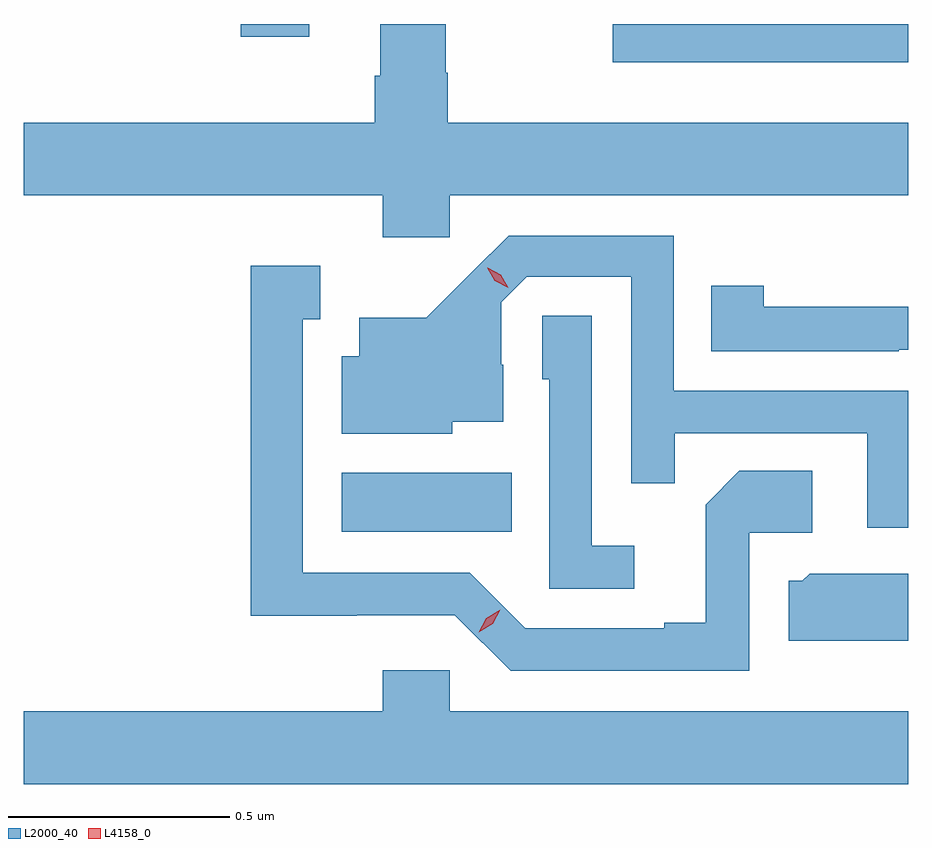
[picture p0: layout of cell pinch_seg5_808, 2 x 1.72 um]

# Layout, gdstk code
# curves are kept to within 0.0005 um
import gdstk
lib = gdstk.Library(unit=1e-6, precision=1e-09)
def R(c, l, rs):  # rectangles x0, y0, x1, y1
    for r in rs: c.add(gdstk.rectangle(r[:2], r[2:], *l))
def P(c, l, *ps):  # polygons
    for p in ps: c.add(gdstk.Polygon(p, *l))
L2000_40 = (2000, 40)
L4158_0 = (4158, 0)

pinch_seg5_808 = lib.new_cell('pinch_seg5_808')
R(pinch_seg5_808, L2000_40, [(782.726,907.946,783.11,908.08), (783.339,909.008,784.007,909.095), (782.497,909.066,782.653,909.095)])
P(pinch_seg5_808, L2000_40, [(782.97,908.708),(784.007,908.708),(784.007,908.872),(782.966,908.872),(782.966,908.985),(782.961,908.985),(782.961,909.095),(782.813,909.095),(782.813,908.978),(782.801,908.978),(782.801,908.872),(782.007,908.872),(782.007,908.708),(782.819,908.708),(782.819,908.613),(782.97,908.613)],
  [(784.007,908.265),(783.477,908.265),(783.477,908.616),(783.104,908.616),(782.917,908.431),(782.765,908.431),(782.765,908.344),(782.726,908.344),(782.726,908.168),(782.976,908.168),(782.976,908.195),(783.091,908.195),(783.091,908.324),(783.087,908.324),(783.087,908.466),(783.144,908.523),(783.381,908.523),(783.381,908.056),(783.479,908.056),(783.479,908.169),(783.915,908.169),(783.915,907.956),(784.007,907.956)],
  [(783.648,907.944),(783.79,907.944),(783.79,908.084),(783.625,908.084),(783.549,908.008),(783.549,907.741),(783.455,907.741),(783.455,907.728),(783.141,907.728),(783.015,907.854),(782.638,907.854),(782.638,908.427),(782.677,908.427),(782.677,908.548),(782.52,908.548),(782.52,907.757),(782.76,907.757),(782.76,907.758),(782.982,907.758),(783.108,907.632),(783.648,907.632)],
  [(783.986,908.358),(784.007,908.358),(784.007,908.456),(783.681,908.456),(783.681,908.503),(783.562,908.503),(783.562,908.355),(783.986,908.355)],
  [(783.388,907.915),(783.291,907.915),(783.291,908.435),(783.18,908.435),(783.18,908.292),(783.195,908.292),(783.195,907.818),(783.388,907.818)],
  [(784.007,907.851),(783.918,907.851),(783.918,907.852),(783.784,907.852),(783.768,907.836),(783.737,907.836),(783.737,907.7),(784.007,907.7)],
  [(784.007,907.54),(782.97,907.54),(782.97,907.633),(782.819,907.633),(782.819,907.54),(782.007,907.54),(782.007,907.376),(784.007,907.376)])
P(pinch_seg5_808, L4158_0, [(783.103,908.499),(783.072,908.514),(783.055,908.544),(783.055,908.544),(783.056,908.544),(783.086,908.528),(783.103,908.499),(783.103,908.499)],
  [(783.036,907.719),(783.036,907.719),(783.053,907.751),(783.085,907.77),(783.085,907.77),(783.085,907.77),(783.068,907.738),(783.036,907.719)])

lib.write_gds('pinch_seg5_808.gds')
